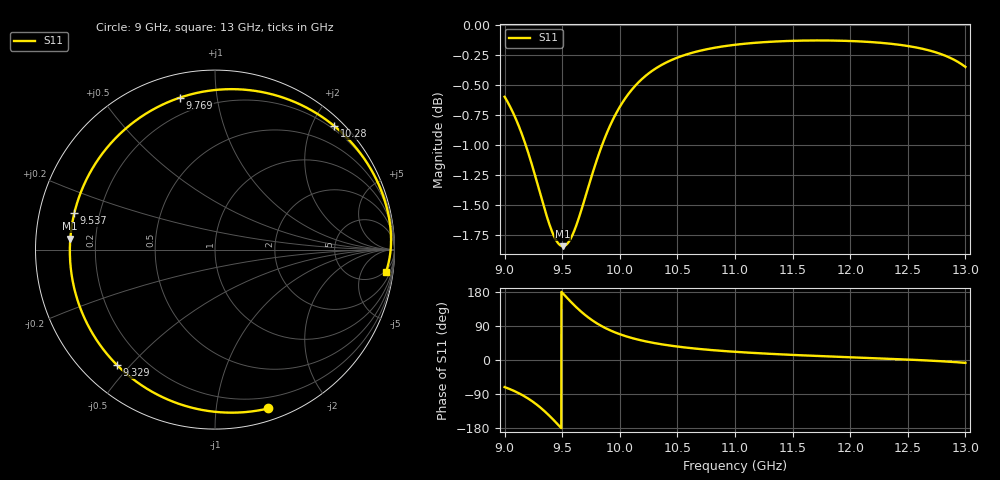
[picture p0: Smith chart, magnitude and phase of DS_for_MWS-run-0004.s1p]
! TOUCHSTONE file generated by CST DESIGN STUDIO
! Date and time: Tue Feb  4 18:24:20 2025
! Project name: C:\Work\MatlabApps\UnitCellOptimizationMatlab\CST\unitcell.cst
! Tree item: Tasks\Sweep1\SPara1\S-Parameters
! Header version: 2024
! Port assignment regex: !\s*Touchstone port\s*([0-9]+)\s*=\s*(CST MWS port|CST DES external port|CST DES block port)\s*(.+)\s* \(\"(.*)\"\)(\s*mode\s*([0-9]+))?.*
! Touchstone port assignment:
! Touchstone port 1 = CST DES external port 1 ("")
# GHz S MA R 50
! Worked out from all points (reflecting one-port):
!   4001 points, 9 GHz to 13 GHz, reference 50 ohm
!   lowest |S11| = -1.8 dB at 9.506 GHz (marker M1), VSWR 9.44, Z = 5.3 + j1.88 ohm
!   phase of S11 starts at -71 deg and turns -296 deg over the sweep
!   S11 on the Smith chart (normalised r, x): 9 GHz: 0.10, -1.38; 9.329 GHz: 0.10, -0.46; 9.537 GHz: 0.11, +0.13; 9.769 GHz: 0.11, +0.79; 10.28 GHz: 0.14, +2.35; 13 GHz: 4, -14
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9  0.9336 -71.5
9.086  0.9165 -82.2
9.189  0.8894 -98.8
9.262  0.8662 -113.8
9.329  0.8438 -130.3
9.374  0.8298 -142.8
9.422  0.8177 -157.3
9.462  0.8111 -170.0
9.5  0.8085 177.6
9.506  0.8085 175.6
9.537  0.8097 165.6
9.591  0.8176 148.6
9.654  0.8334 130.4
9.71  0.8506 116.1
9.769  0.869 103.0
9.816  0.8828 94.0
9.869  0.897 85.2
9.934  0.9119 75.9
10  0.9245 68.1
10.129  0.9429 56.0
10.278  0.9569 45.9
10.5  0.9694 35.5
10.722  0.9765 28.2
11  0.9814 21.6
11.5  0.9852 13.4
12  0.985 7.2
12.5  0.9803 1.2
13  0.9608 -7.6
